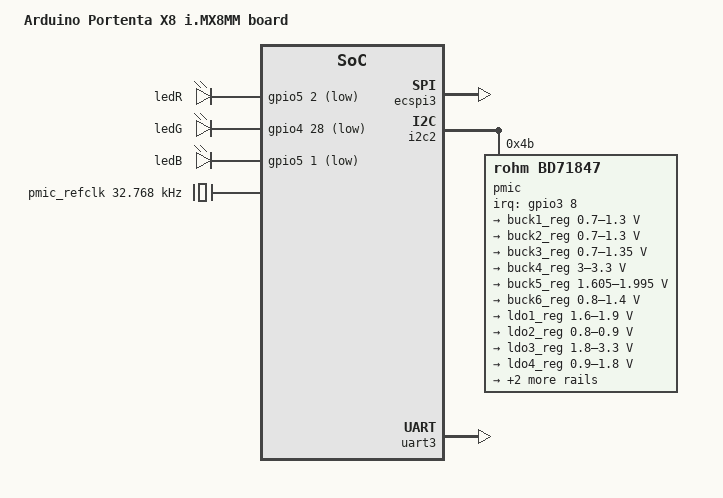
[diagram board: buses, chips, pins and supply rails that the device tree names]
/**
 * Copyright 2021
 *
 * This program is free software; you can redistribute it and/or
 * modify it under the terms of the GNU General Public License
 * as published by the Free Software Foundation; either version 2
 * of the License, or (at your option) any later version.
 *
 * This program is distributed in the hope that it will be useful,
 * but WITHOUT ANY WARRANTY; without even the implied warranty of
 * MERCHANTABILITY or FITNESS FOR A PARTICULAR PURPOSE.  See the
 * GNU General Public License for more details.
 */

#include "portenta-mx8mm.dtsi"

/ {
	model = "Arduino Portenta X8 i.MX8MM board";

	chosen {
		stdout-path = &uart2;
	};

	leds {
		compatible = "gpio-leds";
		pinctrl-names = "default";
		pinctrl-0 = <&pinctrl_gpio_led>;

		ledR {
			label = "ledR";
			gpios = <&gpio5 2 GPIO_ACTIVE_LOW>;
			default-state = "off";
		};

		ledG {
			label = "ledG";
			gpios = <&gpio4 28 GPIO_ACTIVE_LOW>;
			default-state = "off";
		};

		ledB {
			label = "ledB";
			gpios = <&gpio5 1 GPIO_ACTIVE_LOW>;
			linux,default-trigger = "heartbeat";
			default-state = "off";
		};
	};

	/* Y2 SIT1532AI */
	pmic_refclk: pmic-refclk {
		compatible = "fixed-clock";
		#clock-cells = <0>;
		clock-frequency = <32768>;
	};
};

&ecspi3 {
	#address-cells = <1>;
	#size-cells = <0>;
	pinctrl-names = "default";
	pinctrl-0 = <&pinctrl_ecspi3 &pinctrl_ecspi3_cs>;
	num-cs = <1>;
	cs-gpios = <&gpio5 25 GPIO_ACTIVE_LOW>;
	status = "okay";
};

&i2c2 {
	pmic@4b {
		compatible = "rohm,bd71847";
		reg = <0x4b>;
		pinctrl-0 = <&pinctrl_pmic>;
		pinctrl-names = "default";
		interrupt-parent = <&gpio3>;
		interrupts = <8 GPIO_ACTIVE_LOW>;
		rohm,reset-snvs-powered;
		clocks = <&pmic_refclk>;

		regulators {
			buck1_reg: BUCK1 {
				regulator-name = "BUCK1";
				regulator-min-microvolt = <700000>;
				regulator-max-microvolt = <1300000>;
				regulator-boot-on;
				regulator-always-on;
				regulator-ramp-delay = <1250>;
			};

			buck2_reg: BUCK2 {
				regulator-name = "BUCK2";
				regulator-min-microvolt = <700000>;
				regulator-max-microvolt = <1300000>;
				regulator-boot-on;
				regulator-always-on;
				regulator-ramp-delay = <1250>;
				rohm,dvs-run-voltage = <1000000>;
				rohm,dvs-idle-voltage = <900000>;
			};

			buck3_reg: BUCK3 {
				// BUCK5 in datasheet
				regulator-name = "BUCK3";
				regulator-min-microvolt = <700000>;
				regulator-max-microvolt = <1350000>;
				regulator-boot-on;
				regulator-always-on;
			};

			buck4_reg: BUCK4 {
				// BUCK6 in datasheet
				regulator-name = "BUCK4";
				regulator-min-microvolt = <3000000>;
				regulator-max-microvolt = <3300000>;
				regulator-boot-on;
				regulator-always-on;
			};

			buck5_reg: BUCK5 {
				// BUCK7 in datasheet
				regulator-name = "BUCK5";
				regulator-min-microvolt = <1605000>;
				regulator-max-microvolt = <1995000>;
				regulator-boot-on;
				regulator-always-on;
			};

			buck6_reg: BUCK6 {
				// BUCK8 in datasheet
				regulator-name = "BUCK6";
				regulator-min-microvolt = <800000>;
				regulator-max-microvolt = <1400000>;
				regulator-boot-on;
				regulator-always-on;
			};

			ldo1_reg: LDO1 {
				regulator-name = "LDO1";
				regulator-min-microvolt = <1600000>;
				regulator-max-microvolt = <1900000>;
				regulator-boot-on;
				regulator-always-on;
			};

			ldo2_reg: LDO2 {
				regulator-name = "LDO2";
				regulator-min-microvolt = <800000>;
				regulator-max-microvolt = <900000>;
				regulator-boot-on;
				regulator-always-on;
			};

			ldo3_reg: LDO3 {
				regulator-name = "LDO3";
				regulator-min-microvolt = <1800000>;
				regulator-max-microvolt = <3300000>;
				regulator-boot-on;
				regulator-always-on;
			};

			ldo4_reg: LDO4 {
				regulator-name = "LDO4";
				regulator-min-microvolt = <900000>;
				regulator-max-microvolt = <1800000>;
				regulator-boot-on;
				regulator-always-on;
			};

			ldo5_reg: LDO5 {
				regulator-name = "LDO5";
				regulator-min-microvolt = <3000000>;
				regulator-max-microvolt = <3000000>;
				regulator-boot-on;
				regulator-always-on;
			};

			ldo6_reg: LDO6 {
				regulator-name = "LDO6";
				regulator-min-microvolt = <900000>;
				regulator-max-microvolt = <1800000>;
				regulator-boot-on;
				regulator-always-on;
			};
		};
	};
};

&uart3 { /* console */
	pinctrl-names = "default";
	pinctrl-0 = <&pinctrl_uart3>;
	status = "okay";
};

&iomuxc {
	pinctrl_ecspi3: ecspi3grp {
		fsl,pins = <
			MX8MM_IOMUXC_UART1_RXD_ECSPI3_SCLK              0x82
			MX8MM_IOMUXC_UART1_TXD_ECSPI3_MOSI              0x82
			MX8MM_IOMUXC_UART2_RXD_ECSPI3_MISO              0x82
		>;
	};

	pinctrl_ecspi3_cs: ecspi3cs {
		fsl,pins = <
			// MX8MM_IOMUXC_UART2_TXD_ECSPI3_SS0            0x40000
			MX8MM_IOMUXC_UART2_TXD_GPIO5_IO25               0x40000
		>;
	};

	pinctrl_gpio_led: gpioledgrp {
		fsl,pins = <
			MX8MM_IOMUXC_SAI3_MCLK_GPIO5_IO2                0x19
			MX8MM_IOMUXC_SAI3_RXFS_GPIO4_IO28               0x19
			MX8MM_IOMUXC_SAI3_TXD_GPIO5_IO1                 0x19
		>;
	};

	pinctrl_pmic: pmicirq {
		fsl,pins = <
			MX8MM_IOMUXC_NAND_DATA02_GPIO3_IO8		0x141
		>;
	};

	pinctrl_uart3: uart3grp {
		fsl,pins = <
			MX8MM_IOMUXC_UART3_RXD_UART3_DCE_RX		0x140
			MX8MM_IOMUXC_UART3_TXD_UART3_DCE_TX		0x140
		>;
	};

	/* Some of these pins are leaved configured by internal ROM code */
	pinctrl_hog_1: hoggrp-1 {
		fsl,pins = <
			MX8MM_IOMUXC_GPIO1_IO11_GPIO1_IO11		0x110 /* BOOT0_STM */
		>;
	};
};
